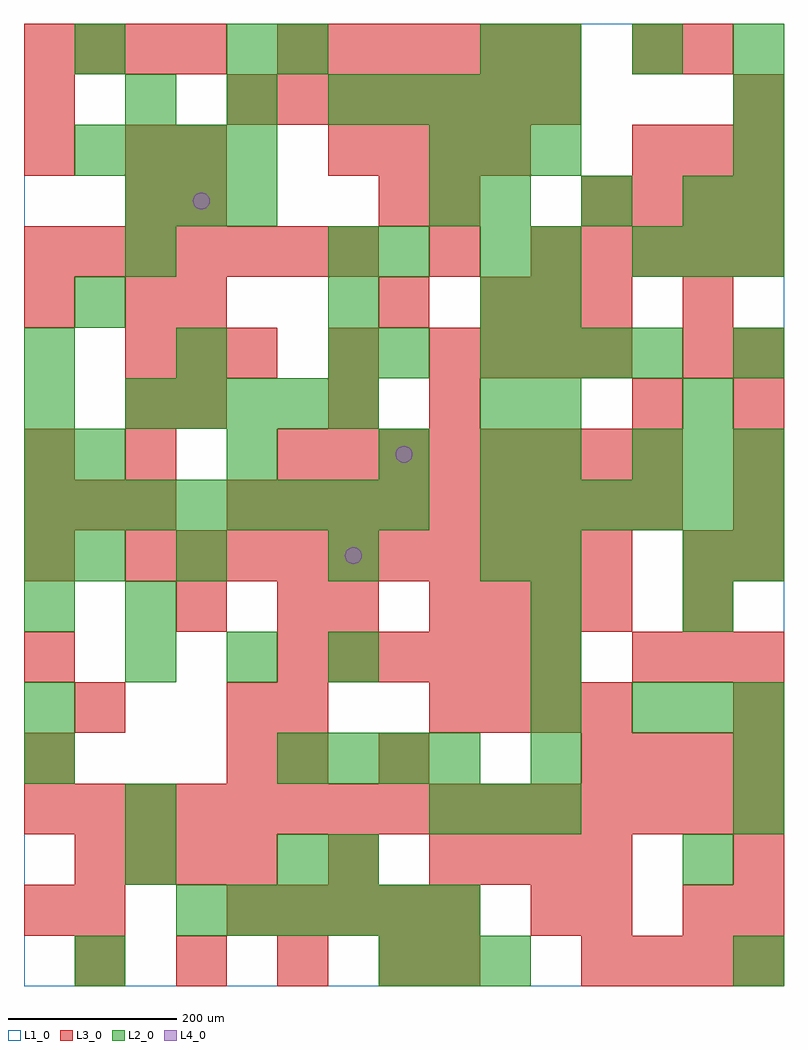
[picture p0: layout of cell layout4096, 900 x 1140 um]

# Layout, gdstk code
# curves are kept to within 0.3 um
import gdstk
lib = gdstk.Library(unit=1e-6, precision=1e-09)
def R(c, l, rs):  # rectangles x0, y0, x1, y1
    for r in rs: c.add(gdstk.rectangle(r[:2], r[2:], *l))
def A(c, l, x, y, w, h, nx, ny, dx, dy):  # array of equal rectangles
    R(c, l, [(x+i*dx, y+j*dy, x+i*dx+w, y+j*dy+h) for i in range(nx) for j in range(ny)])
def P(c, l, *ps):  # polygons
    for p in ps: c.add(gdstk.Polygon(p, *l))
L1_0 = (1, 0)
L2_0 = (2, 0)
L3_0 = (3, 0)
L4_0 = (4, 0)

layout4096 = lib.new_cell('layout4096')
R(layout4096, L1_0, [(0,0,900,1140)])
A(layout4096, L2_0, 420, 0, 60, 60, 3, 1, 60, 0)
A(layout4096, L2_0, 180, 60, 60, 60, 6, 1, 60, 0)
A(layout4096, L2_0, 480, 180, 60, 60, 3, 2, 60, 780)
A(layout4096, L2_0, 300, 240, 60, 60, 4, 1, 60, 0)
A(layout4096, L2_0, 600, 240, 60, 60, 1, 5, 0, 60)
A(layout4096, L2_0, 840, 240, 60, 60, 1, 3, 0, 240)
A(layout4096, L2_0, 720, 300, 60, 60, 3, 2, 60, 300)
A(layout4096, L2_0, 120, 360, 60, 60, 3, 2, 120, 660)
A(layout4096, L2_0, 60, 480, 60, 60, 1, 3, 0, 300)
A(layout4096, L2_0, 180, 480, 60, 60, 3, 1, 180, 0)
A(layout4096, L2_0, 0, 540, 60, 60, 8, 1, 60, 0)
A(layout4096, L2_0, 540, 540, 60, 60, 6, 1, 60, 0)
A(layout4096, L2_0, 60, 600, 60, 60, 3, 1, 180, 0)
A(layout4096, L2_0, 120, 660, 60, 60, 5, 1, 60, 0)
A(layout4096, L2_0, 0, 720, 60, 60, 3, 1, 180, 0)
A(layout4096, L2_0, 540, 720, 60, 60, 4, 1, 60, 0)
A(layout4096, L2_0, 720, 840, 60, 60, 3, 1, 60, 0)
A(layout4096, L2_0, 120, 900, 60, 60, 3, 1, 60, 0)
A(layout4096, L2_0, 540, 900, 60, 60, 3, 1, 120, 0)
A(layout4096, L2_0, 840, 900, 60, 60, 1, 3, 0, 60)
A(layout4096, L2_0, 60, 960, 60, 60, 4, 1, 60, 0)
A(layout4096, L2_0, 420, 1020, 60, 60, 4, 1, 60, 0)
A(layout4096, L2_0, 600, 1080, 60, 60, 3, 1, 120, 0)
R(layout4096, L2_0, [(60,0,120,60), (840,0,900,60), (120,120,180,180), (300,120,360,180), (360,120,420,180), (780,120,840,180), (120,180,180,240), (840,180,900,240), (0,240,60,300), (0,300,60,360), (0,420,60,480), (120,420,180,480), (780,420,840,480), (0,480,60,540), (780,480,840,540), (0,600,60,660), (540,600,600,660), (600,600,660,660), (0,660,60,720), (540,660,600,720), (600,660,660,720), (780,660,840,720), (420,720,480,780), (360,780,420,840), (540,780,600,840), (600,780,660,840), (120,840,180,900), (360,840,420,900), (420,840,480,900), (540,840,600,900), (600,840,660,900), (480,900,540,960), (240,1080,300,1140), (300,1080,360,1140), (540,1080,600,1140)])
A(layout4096, L3_0, 60, 0, 60, 60, 4, 1, 120, 0)
A(layout4096, L3_0, 660, 0, 60, 60, 4, 2, 60, 240)
A(layout4096, L3_0, 240, 60, 60, 60, 5, 1, 60, 0)
A(layout4096, L3_0, 60, 120, 60, 60, 4, 1, 60, 0)
A(layout4096, L3_0, 480, 120, 60, 60, 4, 2, 60, 180)
A(layout4096, L3_0, 840, 120, 60, 60, 1, 3, 0, 180)
A(layout4096, L3_0, 0, 180, 60, 60, 15, 1, 60, 0)
A(layout4096, L3_0, 0, 240, 60, 60, 1, 4, 0, 120)
A(layout4096, L3_0, 300, 360, 60, 60, 6, 2, 60, 720)
A(layout4096, L3_0, 720, 360, 60, 60, 3, 2, 60, 600)
A(layout4096, L3_0, 480, 420, 60, 60, 4, 2, 60, 300)
A(layout4096, L3_0, 120, 480, 60, 60, 10, 1, 60, 0)
A(layout4096, L3_0, 0, 540, 60, 60, 3, 1, 60, 0)
A(layout4096, L3_0, 240, 540, 60, 60, 9, 1, 60, 0)
A(layout4096, L3_0, 840, 540, 60, 60, 1, 4, 0, 60)
A(layout4096, L3_0, 300, 600, 60, 60, 8, 1, 60, 0)
A(layout4096, L3_0, 120, 660, 60, 60, 1, 3, 0, 120)
A(layout4096, L3_0, 180, 660, 60, 60, 1, 3, 0, 120)
A(layout4096, L3_0, 120, 720, 60, 60, 3, 1, 60, 0)
A(layout4096, L3_0, 540, 780, 60, 60, 3, 1, 60, 0)
A(layout4096, L3_0, 0, 840, 60, 60, 7, 1, 60, 0)
A(layout4096, L3_0, 600, 840, 60, 60, 5, 1, 60, 0)
A(layout4096, L3_0, 660, 900, 60, 60, 4, 1, 60, 0)
A(layout4096, L3_0, 360, 960, 60, 60, 4, 1, 60, 0)
A(layout4096, L3_0, 240, 1020, 60, 60, 7, 1, 60, 0)
A(layout4096, L3_0, 0, 1080, 60, 60, 4, 1, 60, 0)
R(layout4096, L3_0, [(480,0,540,60), (0,60,60,120), (60,60,120,120), (600,60,660,120), (660,60,720,120), (780,60,840,120), (840,60,900,120), (360,120,420,180), (240,240,300,300), (300,240,360,300), (420,240,480,300), (60,300,120,360), (240,300,300,360), (300,300,360,360), (180,420,240,480), (300,420,360,480), (360,420,420,480), (780,420,840,480), (780,480,840,540), (120,600,180,660), (360,660,420,720), (480,660,540,720), (720,660,780,720), (360,720,420,780), (780,720,840,780), (0,780,60,840), (420,780,480,840), (780,780,840,840), (480,840,540,900), (420,900,480,960), (480,900,540,960), (0,960,60,1020), (120,960,180,1020), (180,960,240,1020), (0,1020,60,1080), (840,1020,900,1080), (720,1080,780,1140), (780,1080,840,1140)])
P(layout4096, L4_0, [(220,930),(219.239,933.827),(217.071,937.071),(213.827,939.239),(210,940),(206.173,939.239),(202.929,937.071),(200.761,933.827),(200,930),(200.761,926.173),(202.929,922.929),(206.173,920.761),(210,920),(213.827,920.761),(217.071,922.929),(219.239,926.173)],
  [(400,510),(399.239,513.827),(397.071,517.071),(393.827,519.239),(390,520),(386.173,519.239),(382.929,517.071),(380.761,513.827),(380,510),(380.761,506.173),(382.929,502.929),(386.173,500.761),(390,500),(393.827,500.761),(397.071,502.929),(399.239,506.173)],
  [(460,630),(459.239,633.827),(457.071,637.071),(453.827,639.239),(450,640),(446.173,639.239),(442.929,637.071),(440.761,633.827),(440,630),(440.761,626.173),(442.929,622.929),(446.173,620.761),(450,620),(453.827,620.761),(457.071,622.929),(459.239,626.173)])

lib.write_gds('layout4096.gds')
